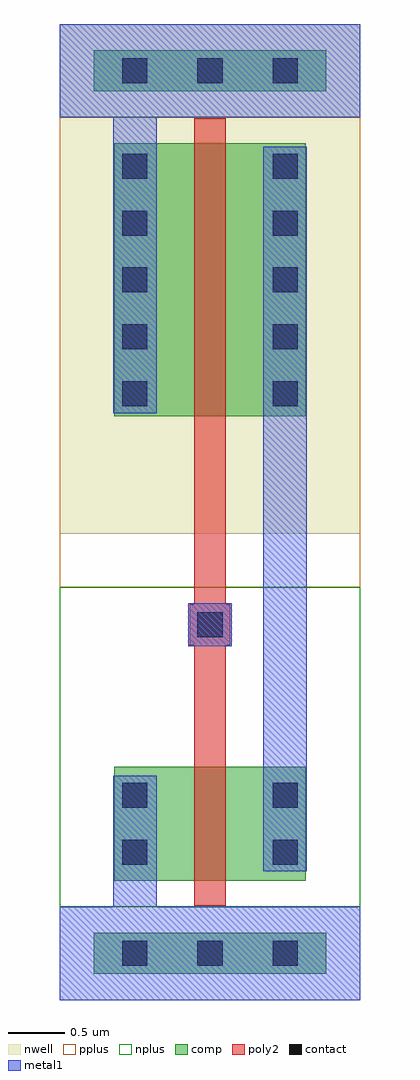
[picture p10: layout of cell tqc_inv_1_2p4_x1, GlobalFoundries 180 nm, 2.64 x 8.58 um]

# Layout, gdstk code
import gdstk
lib = gdstk.Library(unit=1e-6, precision=1e-09)
def R(c, l, rs):  # rectangles x0, y0, x1, y1
    for r in rs: c.add(gdstk.rectangle(r[:2], r[2:], *l))
def A(c, l, x, y, w, h, nx, ny, dx, dy):  # array of equal rectangles
    R(c, l, [(x+i*dx, y+j*dy, x+i*dx+w, y+j*dy+h) for i in range(nx) for j in range(ny)])
nwell = (21, 0)
comp = (22, 0)
poly2 = (30, 0)
pplus = (31, 0)
nplus = (32, 0)
contact = (33, 0)
metal1 = (34, 0)

tqc_inv_1_2p4_x1 = lib.new_cell('tqc_inv_1_2p4_x1')
R(tqc_inv_1_2p4_x1, nwell, [(0,4.1,2.64,8.58)])
R(tqc_inv_1_2p4_x1, comp, [(0.3,0.23,2.34,0.59), (0.48,1.05,2.16,2.05), (0.48,5.13,2.16,7.53), (0.3,7.99,2.34,8.35)])
R(tqc_inv_1_2p4_x1, poly2, [(1.18,0.83,1.46,7.75), (1.14,3.12,1.5,3.48)])
R(tqc_inv_1_2p4_x1, pplus, [(0,0,2.64,0.82), (0,3.63,2.64,7.76)])
R(tqc_inv_1_2p4_x1, nplus, [(0,0.82,2.64,3.63), (0,7.76,2.64,8.58)])
A(tqc_inv_1_2p4_x1, contact, 0.55, 0.3, 0.22, 0.22, 3, 2, 0.66, 7.76)
A(tqc_inv_1_2p4_x1, contact, 0.55, 5.22, 0.22, 0.22, 1, 5, 0, 0.5)
A(tqc_inv_1_2p4_x1, contact, 1.87, 5.22, 0.22, 0.22, 1, 5, 0, 0.5)
R(tqc_inv_1_2p4_x1, contact, [(0.55,1.19,0.77,1.41), (1.87,1.19,2.09,1.41), (0.55,1.69,0.77,1.91), (1.87,1.69,2.09,1.91), (1.21,3.19,1.43,3.41)])
R(tqc_inv_1_2p4_x1, metal1, [(0,0,2.64,0.82), (0.47,0,0.85,1.97), (1.79,1.13,2.17,1.97), (1.79,1.87,2.17,4.15), (1.13,3.11,1.51,3.49), (1.79,3.77,2.17,5.26), (0.47,5.16,0.85,8.58), (1.79,5.16,2.17,7.5), (0,7.76,2.64,8.58)])

lib.write_gds('tqc_inv_1_2p4_x1.gds')
